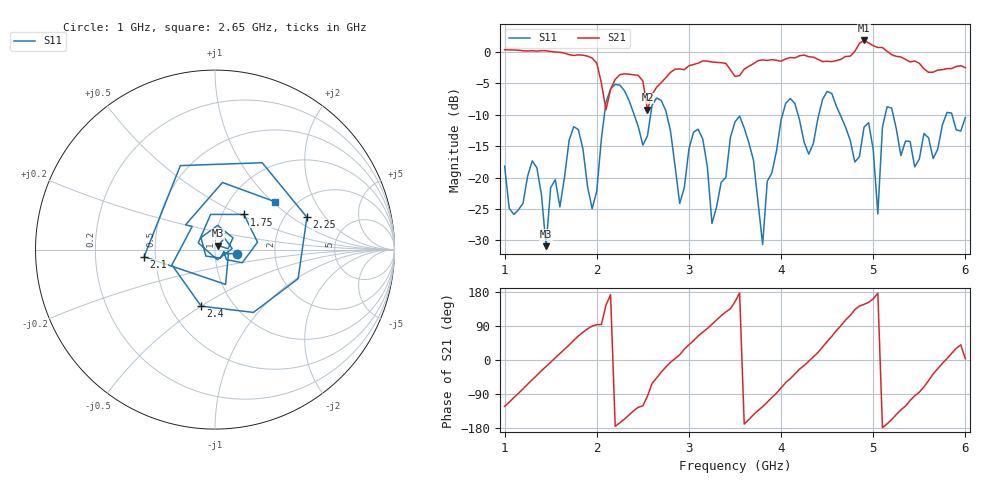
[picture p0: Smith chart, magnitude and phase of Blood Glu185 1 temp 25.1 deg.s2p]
! NanoVNA-App
! Date: 2024-03-21 00:50:32
! Start: 1GHz Stop: 6GHz Points: 101
! S-Parameter data: F S11 S21 S12 S22
# Hz S RI R 50
!	Frequency	S11_Real	S11_Imag	S21_Real	S21_Imag	S12_Real	S12_Imag	S22_Real	S22_Imag
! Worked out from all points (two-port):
!   101 points, 1 GHz to 6 GHz, reference 50 ohm
!   highest |S21| = 1.80 dB at 4.9 GHz (marker M1); lowest = -9.2 dB at 2.55 GHz (marker M2)
!   |S21| within 3 dB of the highest: start of sweep to 1.962 GHz; 4.65 GHz to 5.349 GHz (698.9 MHz wide, 14 % of centre)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
!   lowest |S11| = -30.9 dB at 1.45 GHz (marker M3), VSWR 1.06, Z = 51.7 + j2.33 ohm
!   |S11| at or under -10 dB: start of sweep to 2.083 GHz; 2.759 GHz to 4.016 GHz (1.257 GHz wide, 37.1 % of centre); 5.216 GHz to 5.791 GHz (575.3 MHz wide, 10.5 % of centre)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
!   S12 and S22 are empty: the file has one direction only
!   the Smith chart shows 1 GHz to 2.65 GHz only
!   S11 on the Smith chart (normalised r, x): 1 GHz: 1.27, -0.06; 1.75 GHz: 1.26, +0.53; 2.1 GHz: 0.43, -0.04; 2.25 GHz: 2.61, +1.33; 2.4 GHz: 0.71, -0.50; 2.65 GHz: 1.60, +1.04
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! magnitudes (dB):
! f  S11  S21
! 1 GHz  -18.2  0.3
! 1.45 GHz  -30.9  0.2
! 1.75 GHz  -11.9  -0.6
! 1.85 GHz  -15.5  -0.5
! 1.95 GHz  -25.0  -1.0
! 2.1 GHz  -8.0  -9.2
! 2.25 GHz  -5.3  -3.6
! 2.4 GHz  -9.8  -3.7
! 2.55 GHz  -13.4  -9.2
! 2.65 GHz  -7.4  -5.6
! 2.7 GHz  -7.7  -4.9
! 2.9 GHz  -24.1  -2.7
! 3.15 GHz  -13.9  -1.5
! 3.25 GHz  -27.3  -1.6
! 3.5 GHz  -11.1  -3.9
! 3.8 GHz  -30.7  -1.3
! 4.05 GHz  -8.2  -1.1
! 4.35 GHz  -14.6  -0.9
! 4.9 GHz  -12.0  1.8
! 5.05 GHz  -25.8  0.7
! 5.2 GHz  -9.0  -0.5
! 6 GHz  -10.4  -2.5
